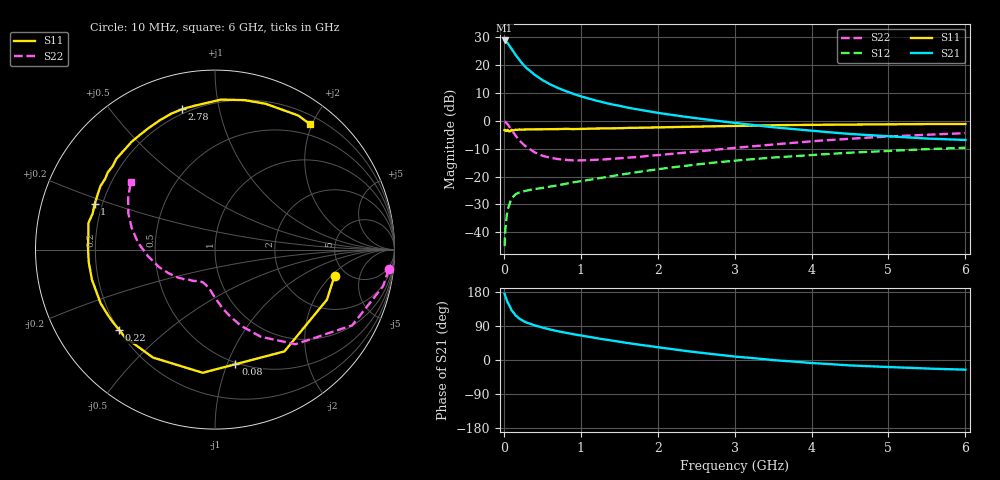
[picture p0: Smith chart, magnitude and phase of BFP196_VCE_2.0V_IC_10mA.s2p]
! Infineon Technologies  Discrete & RF Semiconductors
! BFP196
! VCE = 2.0 V,  IC =  10mA
! Common Emitter S-Parameters:  Jan 2016
# GHz  S  MA  R  50
!  f  S11  S21  S12  S22
! GHz  MAG  ANG  MAG  ANG  MAG  ANG  MAG  ANG
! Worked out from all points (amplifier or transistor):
!   210 points, 10 MHz to 6 GHz, reference 50 ohm
!   highest |S21| = 28.9 dB at 10 MHz (marker M1)
!   |S21| within 3 dB of that: start of sweep to 100.9 MHz
!   unconditionally stable (mu >= 1): 866.3 MHz to 3.46 GHz; 3.677 GHz to 3.804 GHz
!   at 185 MHz: K = 0.31, MSG = 24.2 dB, |S12| = -26.0 dB
!   at 1.52 GHz: K = 1.15, MAG = 9.9 dB, |S12| = -19.3 dB
!   at 6 GHz: K = 0.98, MSG = 1.4 dB, |S12| = -9.7 dB
!   S11 on the Smith chart (normalised r, x): 10 MHz: 4.02, -2.20; 80 MHz: 0.49, -1.07; 220 MHz: 0.20, -0.35; 1 GHz: 0.17, +0.18; 2.78 GHz: 0.18, +0.78; 6 GHz: 0.33, +1.98
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0.01  0.6819 -12.4  27.82 174.7  0.0056 85.3  0.9747 -6.4
0.02  0.6832 -24.1  27.12 167.6  0.0113 80.6  0.9583 -12.3
0.05  0.6866 -55.7  24.97 151.6  0.0255 65.2  0.8731 -28.9
0.08  0.6487 -79.9  21.52 140.6  0.034 53.9  0.7522 -40.2
0.1  0.6897 -95.7  19.79 131.4  0.0402 49.2  0.6922 -49.6
0.15  0.6937 -119.9  15.42 118.0  0.0477 40.3  0.5487 -62.3
0.2  0.6996 -135.7  12.47 109.3  0.0516 35.6  0.4489 -71.1
0.22  0.6966 -140.1  11.57 107.1  0.0525 34.6  0.4207 -73.4
0.26  0.6995 -148.3  9.946 102.2  0.0543 32.9  0.3706 -78.2
0.3  0.7041 -154.8  8.737 98.3  0.056 32.3  0.3347 -82.1
0.4  0.7058 -166.1  6.732 91.3  0.0595 32.3  0.272 -89.5
0.5  0.7071 -174.3  5.412 85.6  0.0621 33.3  0.2365 -94.8
0.7  0.7102 173.2  3.919 75.9  0.0694 36.2  0.2059 -103.1
1  0.7171 159.2  2.761 64.6  0.0819 40.3  0.1948 -112.3
1.02  0.7178 158.4  2.712 63.9  0.0829 40.5  0.1952 -112.9
1.4  0.7362 144.1  1.98 51.5  0.1015 42.9  0.2072 -122.2
2.02  0.7628 124.3  1.38 33.2  0.1364 42.5  0.2429 -138.3
2.78  0.8032 103.3  0.997 14.1  0.1802 37.3  0.3052 -157.5
3.1  0.8126 96.0  0.887 7.5  0.198 33.8  0.3356 -165.4
4.1  0.8498 77.2  0.645 -9.1  0.2479 23.2  0.4396 172.8
5.1  0.8668 63.1  0.518 -19.3  0.2931 11.9  0.5312 155.4
6  0.8771 52.7  0.453 -25.5  0.3289 1.2  0.6007 141.4
